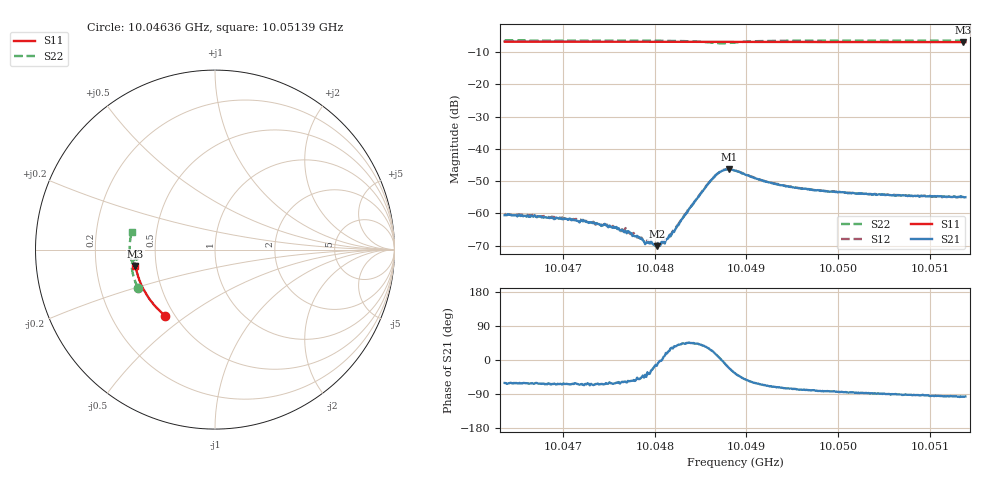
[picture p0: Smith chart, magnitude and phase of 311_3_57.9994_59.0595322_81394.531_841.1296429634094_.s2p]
#  HZ  S  RI  R  50.00
! Rohde & Schwarz Vector Network Analyzer
! Rohde-Schwarz,ZNB20-2Port,1311601062101988,3.16
! Created: UTC 3/21/2024, 1:04:12 AM
! freq[Hz]  re:S11  im:S11  re:S21  im:S21  re:S12  im:S12  re:S22  im:S22
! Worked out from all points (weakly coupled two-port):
!   401 points, 10.04636 GHz to 10.05139 GHz, reference 50 ohm
!   highest |S21| = -46.35 dB at 10.04881 GHz (marker M1); lowest = -70.2 dB at 10.04802 GHz (marker M2)
!   lowest |S11| = -6.9 dB at 10.05136 GHz (marker M3), VSWR 2.65, Z = 19 - j4.35 ohm
!   |S11| at or under -10 dB: nowhere
!   |S22| runs from -7.3 to -6.4 dB; largest |S21 - S12| = 0.00032
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1.0046364e10  -0.2785 -0.3677  0.000461 -0.000818  0.000572 -0.000821  -0.4296 -0.2139
1.0046715e10  -0.2962 -0.3524  0.000429 -0.000761  0.000478 -0.000773  -0.439 -0.1923
1.0047205e10  -0.3196 -0.3301  0.000353 -0.000703  0.000377 -0.000668  -0.4504 -0.161
1.0047469e10  -0.3314 -0.3174  0.000319 -0.000575  0.000343 -0.000565  -0.4555 -0.1435
1.0047582e10  -0.3363 -0.3118  0.000311 -0.000532  0.000343 -0.000495  -0.4575 -0.1358
1.004767e10  -0.3402 -0.3073  0.000277 -0.000429  0.000317 -0.000456  -0.459 -0.1297
1.0047833e10  -0.347 -0.2991  0.000267 -0.000322  0.000298 -0.000289  -0.4613 -0.1177
1.0047908e10  -0.3502 -0.2952  0.000254 -0.000248  0.000292 -0.000209  -0.4621 -0.1122
1.0048021e10  -0.3547 -0.2892  0.0003 -8.2e-05  0.000323 -6.69e-05  -0.4632 -0.1035
1.0048046e10  -0.3558 -0.288  0.000337 -2.99e-05  0.000315 -1.12e-05  -0.4633 -0.1016
1.0048134e10  -0.3593 -0.2833  0.00038 0.000121  0.000372 0.000143  -0.4636 -0.0944
1.0048197e10  -0.3617 -0.2801  0.000455 0.000264  0.000425 0.00032  -0.4637 -0.089
1.0048536e10  -0.3743 -0.2615  0.00186 0.00142  0.00182 0.00154  -0.4512 -0.0581
1.0048649e10  -0.3782 -0.2552  0.00347 0.0012  0.00344 0.00141  -0.4368 -0.0553
1.0048737e10  -0.3811 -0.2505  0.00459 -0.000183  0.00462 0.000102  -0.4289 -0.0647
1.0048812e10  -0.3837 -0.2465  0.00447 -0.00179  0.0046 -0.00149  -0.4329 -0.0749
1.0048875e10  -0.3859 -0.243  0.00378 -0.00264  0.00398 -0.0024  -0.4412 -0.0783
1.0049277e10  -0.3988 -0.22  0.000982 -0.00277  0.00119 -0.00272  -0.4697 -0.0494
1.0049716e10  -0.4116 -0.1938  0.000413 -0.00227  0.000547 -0.00227  -0.4751 -0.0151
1.0050558e10  -0.4307 -0.1422  9.42e-06 -0.00192  0.000124 -0.00193  -0.4738 0.0435
1.0051361e10  -0.4431 -0.091  -0.000202 -0.00179  -0.000143 -0.00178  -0.4654 0.0965
1.0051386e10  -0.4435 -0.0894  -0.000197 -0.00177  -8.54e-05 -0.00178  -0.465 0.0983
